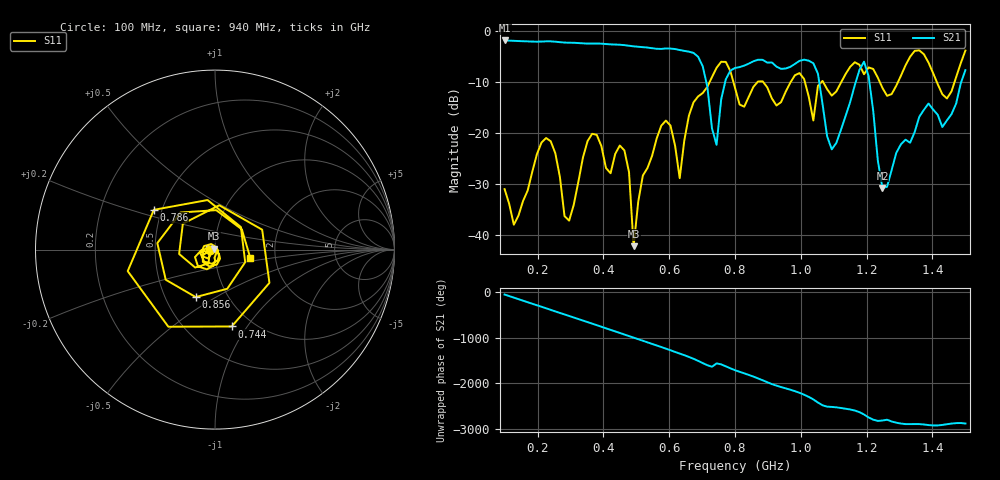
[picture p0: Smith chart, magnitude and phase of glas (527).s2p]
! NanoVNA-App
! Date: 2025-09-25 15:59:34
! Start: 100MHz Stop: 1,5GHz Points: 101
! S-Parameter data: F S11 S21 S12 S22
# Hz S RI R 50
!  Frequency  S11_Real  S11_Imag  S21_Real  S21_Imag  S12_Real  S12_Imag  S22_Real  S22_Imag
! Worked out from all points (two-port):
!   101 points, 100 MHz to 1.5 GHz, reference 50 ohm
!   highest |S21| = -1.80 dB at 100 MHz (marker M1); lowest = -30.7 dB at 1.248 GHz (marker M2)
!   |S21| within 3 dB of the highest: start of sweep to 684.3 MHz
!   lowest |S11| = -42.1 dB at 492 MHz (marker M3), VSWR 1.02, Z = 49.5 + j0.599 ohm
!   |S11| at or under -10 dB: start of sweep to 722.6 MHz; 795.4 MHz to 867.9 MHz (72.58 MHz wide, 8.73 % of centre); 886.3 MHz to 968.7 MHz (82.47 MHz wide, 8.89 % of centre) (the widest 3 of 7)
!   S12 and S22 are empty: the file has one direction only
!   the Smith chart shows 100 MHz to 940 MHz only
!   S11 on the Smith chart (normalised r, x): 100 MHz: 0.95, -0.01; 744 MHz: 0.80, -0.85; 786 MHz: 0.45, +0.24; 856 MHz: 0.71, -0.41; 940 MHz: 1.48, -0.14
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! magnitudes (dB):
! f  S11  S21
! 100 MHz  -30.9  -1.8
! 128 MHz  -37.9  -1.9
! 226 MHz  -20.9  -2.0
! 296 MHz  -37.1  -2.2
! 338 MHz  -24.8  -2.4
! 464 MHz  -23.4  -2.7
! 492 MHz  -42.1  -3.0
! 576 MHz  -18.5  -3.5
! 632 MHz  -28.8  -3.7
! 702 MHz  -12.1  -6.9
! 744 MHz  -7.2  -22.3
! 786 MHz  -7.8  -7.7
! 800 MHz  -11.1  -7.2
! 856 MHz  -10.9  -5.9
! 940 MHz  -13.9  -7.4
! 996 MHz  -8.2  -5.8
! 1.038 GHz  -17.5  -6.3
! 1.094 GHz  -12.6  -23.1
! 1.192 GHz  -8.4  -5.9
! 1.248 GHz  -11.1  -30.7
! 1.276 GHz  -12.3  -27.2
! 1.5 GHz  -3.8  -7.6
